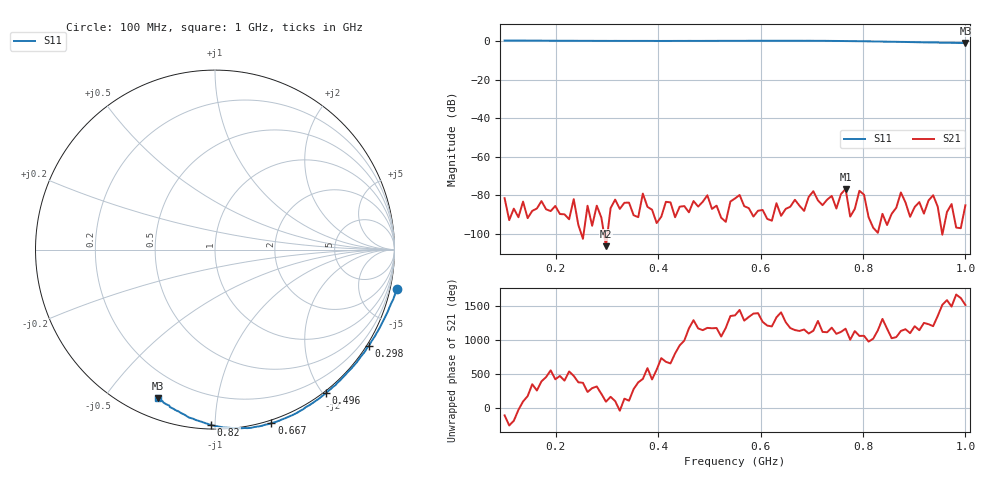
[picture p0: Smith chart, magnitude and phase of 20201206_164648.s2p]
# HZ S RI R 50
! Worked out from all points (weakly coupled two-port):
!   101 points, 100 MHz to 1 GHz, reference 50 ohm
!   highest |S21| = -76.68 dB at 766 MHz (marker M1); lowest = -106.4 dB at 298 MHz (marker M2)
!   lowest |S11| = -1.1 dB at 1 GHz (marker M3), VSWR 16.47, Z = 4.46 - j34.2 ohm
!   |S11| at or under -10 dB: nowhere
!   S12 and S22 are empty: the file has one direction only
!   S11 on the Smith chart (normalised r, x): 100 MHz: -1.52, -9.10; 298 MHz: -0.07, -3.48; 496 MHz: -0.03, -2.04; 667 MHz: -0.02, -1.38; 820 MHz: 0.02, -0.98; 1 GHz: 0.09, -0.68
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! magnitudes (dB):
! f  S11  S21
! 100 MHz  0.3  -81.5
! 253 MHz  0.1  -102.5
! 298 MHz  0.1  -106.4
! 406 MHz  0.1  -91.1
! 496 MHz  0.1  -80.0
! 550 MHz  0.1  -81.6
! 667 MHz  0.1  -82.3
! 694 MHz  0.1  -80.8
! 703 MHz  0.1  -77.9
! 712 MHz  0.1  -82.6
! 748 MHz  0.0  -86.8
! 757 MHz  0.0  -79.4
! 766 MHz  0.0  -76.7
! 775 MHz  0.0  -91.0
! 784 MHz  -0.1  -87.0
! 793 MHz  -0.1  -77.6
! 802 MHz  -0.1  -79.7
! 820 MHz  -0.2  -96.8
! 856 MHz  -0.4  -89.6
! 874 MHz  -0.4  -78.5
! 883 MHz  -0.5  -83.7
! 1 GHz  -1.1  -85.2
